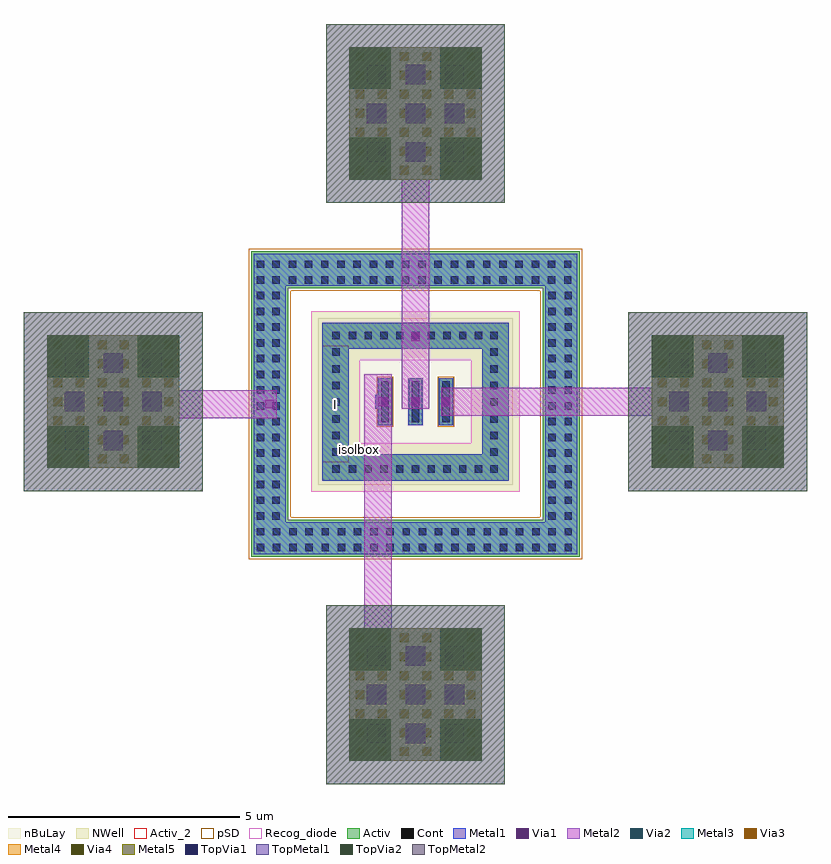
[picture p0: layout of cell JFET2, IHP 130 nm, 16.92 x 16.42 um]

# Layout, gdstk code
import gdstk
lib = gdstk.Library(unit=1e-6, precision=1e-09)
def R(c, l, rs):  # rectangles x0, y0, x1, y1
    for r in rs: c.add(gdstk.rectangle(r[:2], r[2:], *l))
def A(c, l, x, y, w, h, nx, ny, dx, dy):  # array of equal rectangles
    R(c, l, [(x+i*dx, y+j*dy, x+i*dx+w, y+j*dy+h) for i in range(nx) for j in range(ny)])
def P(c, l, *ps):  # polygons
    for p in ps: c.add(gdstk.Polygon(p, *l))
Activ = (1, 0)
Activ_2 = (1, 2)
Cont = (6, 0)
Metal1 = (8, 0)
Metal2 = (10, 0)
pSD = (14, 0)
Via1 = (19, 0)
Via2 = (29, 0)
Metal3 = (30, 0)
NWell = (31, 0)
nBuLay = (32, 0)
Via3 = (49, 0)
Metal4 = (50, 0)
Via4 = (66, 0)
Metal5 = (67, 0)
Recog_diode = (99, 31)
TopVia1 = (125, 0)
TopMetal1 = (126, 0)
TopVia2 = (133, 0)
TopMetal2 = (134, 0)

cntring = lib.new_cell('cntring')
R(cntring, Cont, [(-0.08,-0.08,0.08,0.08)])

via12cell = lib.new_cell('via12cell')
R(via12cell, Metal1, [(-0.155,-0.155,0.155,0.155)])
R(via12cell, Via1, [(-0.095,-0.095,0.095,0.095)])

viastack = lib.new_cell('viastack')
R(viastack, Metal1, [(-1.43,-1.43,1.43,1.43)])
R(viastack, Metal2, [(-1.43,-1.43,1.43,1.43)])
A(viastack, Via1, -1.295, -1.325, 0.19, 0.19, 6, 7, 0.48, 0.41)
A(viastack, Via2, -1.295, -1.325, 0.19, 0.19, 6, 7, 0.48, 0.41)
R(viastack, Metal3, [(-1.43,-1.43,1.43,1.43)])
A(viastack, Via3, -1.295, -1.325, 0.19, 0.19, 6, 7, 0.48, 0.41)
R(viastack, Metal4, [(-1.43,-1.43,1.43,1.43)])
A(viastack, Via4, -1.295, -1.325, 0.19, 0.19, 6, 7, 0.48, 0.41)
R(viastack, Metal5, [(-1.43,-1.43,1.43,1.43)])
A(viastack, TopVia1, -1.05, -1.05, 0.42, 0.42, 3, 3, 0.84, 0.84)
R(viastack, TopMetal1, [(-1.93,-1.93,1.93,1.93)])
R(viastack, TopVia2, [(-1.43,-1.43,-0.53,-0.53), (0.53,-1.43,1.43,-0.53), (-1.43,0.53,-0.53,1.43), (0.53,0.53,1.43,1.43)])
R(viastack, TopMetal2, [(-1.93,-1.93,1.93,1.93)])

jfet2 = lib.new_cell('JFET2')
A(jfet2, Activ, 0.39, -0.01, 0.3, 1.02, 3, 1, 0.66, 0)
P(jfet2, Activ, [(-0.81,-1.21),(-0.81,-0.64),(2.64,-0.64),(2.64,1.64),(-0.24,1.64),(-0.24,-0.64),(-0.81,-0.64),(-0.81,2.21),(3.21,2.21),(3.21,-1.21)])
R(jfet2, Activ_2, [(-0.81,-0.81,-0.24,1.71)])
A(jfet2, Cont, 0.46, 0.06, 0.16, 0.88, 3, 1, 0.66, 0)
A(jfet2, Metal1, 0.385, -0.01, 0.31, 1.02, 3, 1, 0.66, 0)
R(jfet2, Metal1, [(-0.81,-1.21,3.21,-0.64), (-0.81,-0.64,-0.24,1.64), (2.64,-0.64,3.21,2.21), (-0.81,1.64,2.64,2.21)])
R(jfet2, pSD, [(0.36,-0.04,0.72,1.04), (1.68,-0.04,2.04,1.04)])
P(jfet2, NWell, [(-1.05,-1.45),(-1.05,-0.4),(2.4,-0.4),(2.4,1.4),(0,1.4),(0,-0.4),(-1.05,-0.4),(-1.05,2.45),(3.45,2.45),(3.45,-1.45)])
R(jfet2, nBuLay, [(-0.9,-1.3,3.3,2.3)])
P(jfet2, Recog_diode, [(-1.05,-1.45),(-1.05,-0.4),(2.4,-0.4),(2.4,1.4),(0,1.4),(0,-0.4),(-1.05,-0.4),(-1.05,2.45),(3.45,2.45),(3.45,-1.45)])
jfet2.add(gdstk.FlexPath([(-1.6,-2.45),(4.35,-2.45),(4.35,3.35),(-1.95,3.35),(-1.95,-2.8)], 0.7, ends="flush", simple_path=True, layer=8, datatype=0))  # Metal1
jfet2.add(gdstk.FlexPath([(-1.55,-2.45),(4.35,-2.45),(4.35,3.35),(-1.95,3.35),(-1.95,-2.85)], 0.8, ends="flush", simple_path=True, layer=1, datatype=0))  # Activ
jfet2.add(gdstk.FlexPath([(-1.5,-2.45),(4.35,-2.45),(4.35,3.35),(-1.95,3.35),(-1.95,-2.9)], 0.9, ends="flush", simple_path=True, layer=14, datatype=0))  # pSD
jfet2.add(gdstk.FlexPath([(1.755,0.5),(8.02,0.5)], 0.6, ends="flush", simple_path=True, layer=10, datatype=0))  # Metal2
jfet2.add(gdstk.FlexPath([(1.2,0.345),(1.2,7.115)], 0.6, ends="flush", simple_path=True, layer=10, datatype=0))  # Metal2
jfet2.add(gdstk.FlexPath([(-1.795,0.445),(-5.46,0.445)], 0.6, ends="flush", simple_path=True, layer=10, datatype=0))  # Metal2
jfet2.add(gdstk.FlexPath([(0.39,1.09),(0.39,-5.95)], 0.6, ends="flush", simple_path=True, layer=10, datatype=0))  # Metal2
r = gdstk.Reference(cntring, (-0.52,-0.95)); r.repetition = gdstk.Repetition(1, 9, v1=(0,0), v2=(0,0.36)); jfet2.add(r)
r = gdstk.Reference(cntring, (2.9,-0.95)); r.repetition = gdstk.Repetition(1, 9, v1=(0,0), v2=(0,0.36)); jfet2.add(r)
jfet2.add(gdstk.Reference(via12cell, (-1.95,0.45)))
jfet2.add(gdstk.Reference(via12cell, (0.49,0.5)))
jfet2.add(gdstk.Reference(via12cell, (1.2,0.5)))
jfet2.add(gdstk.Reference(via12cell, (1.86,0.5)))
jfet2.add(gdstk.Reference(via12cell, (1.2,1.9)))
r = gdstk.Reference(cntring, (-1.46,3.13)); r.repetition = gdstk.Repetition(18, 2, v1=(0.35,0), v2=(0,0.34)); jfet2.add(r)
jfet2.add(gdstk.Reference(viastack, (1.2,-5.83)))
jfet2.add(gdstk.Reference(viastack, (-5.33,0.5)))
jfet2.add(gdstk.Reference(viastack, (7.73,0.5)))
jfet2.add(gdstk.Reference(viastack, (1.2,6.73)))
r = gdstk.Reference(cntring, (-0.16,-0.95)); r.repetition = gdstk.Repetition(9, 1, v1=(0.34,0), v2=(0,0)); jfet2.add(r)
r = gdstk.Reference(cntring, (-0.16,1.93)); r.repetition = gdstk.Repetition(9, 1, v1=(0.34,0), v2=(0,0)); jfet2.add(r)
r = gdstk.Reference(cntring, (4.15,-1.97)); r.repetition = gdstk.Repetition(2, 15, v1=(0.35,0), v2=(0,0.34)); jfet2.add(r)
r = gdstk.Reference(cntring, (-2.15,-1.97)); r.repetition = gdstk.Repetition(2, 17, v1=(0.34,0), v2=(0,0.34)); jfet2.add(r)
r = gdstk.Reference(cntring, (-2.15,-2.65)); r.repetition = gdstk.Repetition(20, 2, v1=(0.35,0), v2=(0,0.34)); jfet2.add(r)
jfet2.add(gdstk.Label('isolbox', (0,-0.525), layer=63, texttype=0))
jfet2.add(gdstk.Label('I', (-0.525,0.45), layer=63, texttype=0))

lib.write_gds('JFET2.gds')
